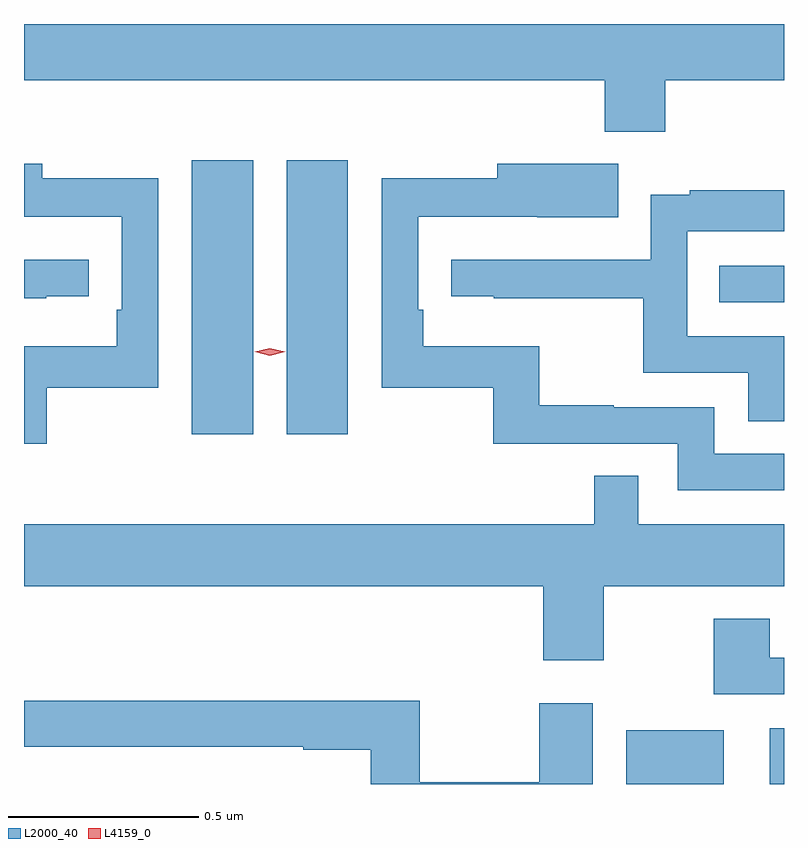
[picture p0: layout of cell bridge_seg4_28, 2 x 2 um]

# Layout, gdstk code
import gdstk
lib = gdstk.Library(unit=1e-6, precision=1e-09)
def R(c, l, rs):  # rectangles x0, y0, x1, y1
    for r in rs: c.add(gdstk.rectangle(r[:2], r[2:], *l))
def P(c, l, *ps):  # polygons
    for p in ps: c.add(gdstk.Polygon(p, *l))
L2000_40 = (2000, 40)
L4159_0 = (4159, 0)

bridge_seg4_28 = lib.new_cell('bridge_seg4_28')
R(bridge_seg4_28, L2000_40, [(998.75,809.62,999.007,809.761), (999.128,809.62,999.165,809.767), (997.607,810.54,997.768,811.261), (997.856,810.54,998.017,811.261), (998.995,810.888,999.165,810.984)])
P(bridge_seg4_28, L2000_40, [(997.165,811.472),(998.693,811.472),(998.693,811.337),(998.853,811.337),(998.853,811.472),(999.165,811.472),(999.165,811.62),(997.165,811.62)],
  [(997.225,810.663),(997.518,810.663),(997.518,811.214),(997.213,811.214),(997.213,811.252),(997.165,811.252),(997.165,811.113),(997.422,811.113),(997.422,810.868),(997.409,810.868),(997.409,810.772),(997.165,810.772),(997.165,810.516),(997.225,810.516)],
  [(999.165,810.489),(998.982,810.489),(998.982,810.612),(998.717,810.612),(998.717,810.617),(998.521,810.617),(998.521,810.772),(998.216,810.772),(998.216,810.868),(998.202,810.868),(998.202,811.113),(998.515,811.113),(998.515,811.112),(998.729,811.112),(998.729,811.252),(998.411,811.252),(998.411,811.214),(998.106,811.214),(998.106,810.663),(998.4,810.663),(998.4,810.516),(998.886,810.516),(998.886,810.393),(999.165,810.393)],
  [(999.165,810.798),(998.91,810.798),(998.91,811.074),(999.165,811.074),(999.165,811.183),(998.917,811.183),(998.917,811.171),(998.814,811.171),(998.814,810.999),(998.289,810.999),(998.289,810.903),(998.401,810.903),(998.401,810.898),(998.794,810.898),(998.794,810.702),(999.071,810.702),(999.071,810.574),(999.165,810.574)],
  [(997.223,810.903),(997.336,810.903),(997.336,810.999),(997.165,810.999),(997.165,810.898),(997.223,810.898)],
  [(998.691,810.14),(999.165,810.14),(999.165,810.304),(998.781,810.304),(998.781,810.431),(998.665,810.431),(998.665,810.304),(997.165,810.304),(997.165,810.14),(998.531,810.14),(998.531,809.946),(998.691,809.946)],
  [(999.165,809.952),(999.127,809.952),(999.127,810.055),(998.98,810.055),(998.98,809.856),(999.165,809.856)],
  [(998.662,809.833),(998.521,809.833),(998.521,809.624),(998.206,809.624),(998.206,809.839),(997.165,809.839),(997.165,809.718),(997.9,809.718),(997.9,809.71),(998.077,809.71),(998.077,809.62),(998.662,809.62)])
P(bridge_seg4_28, L4159_0, [(997.812,810.747),(997.772,810.757),(997.772,810.757),(997.772,810.758),(997.812,810.767),(997.852,810.757),(997.852,810.757),(997.852,810.757)])

lib.write_gds('bridge_seg4_28.gds')
